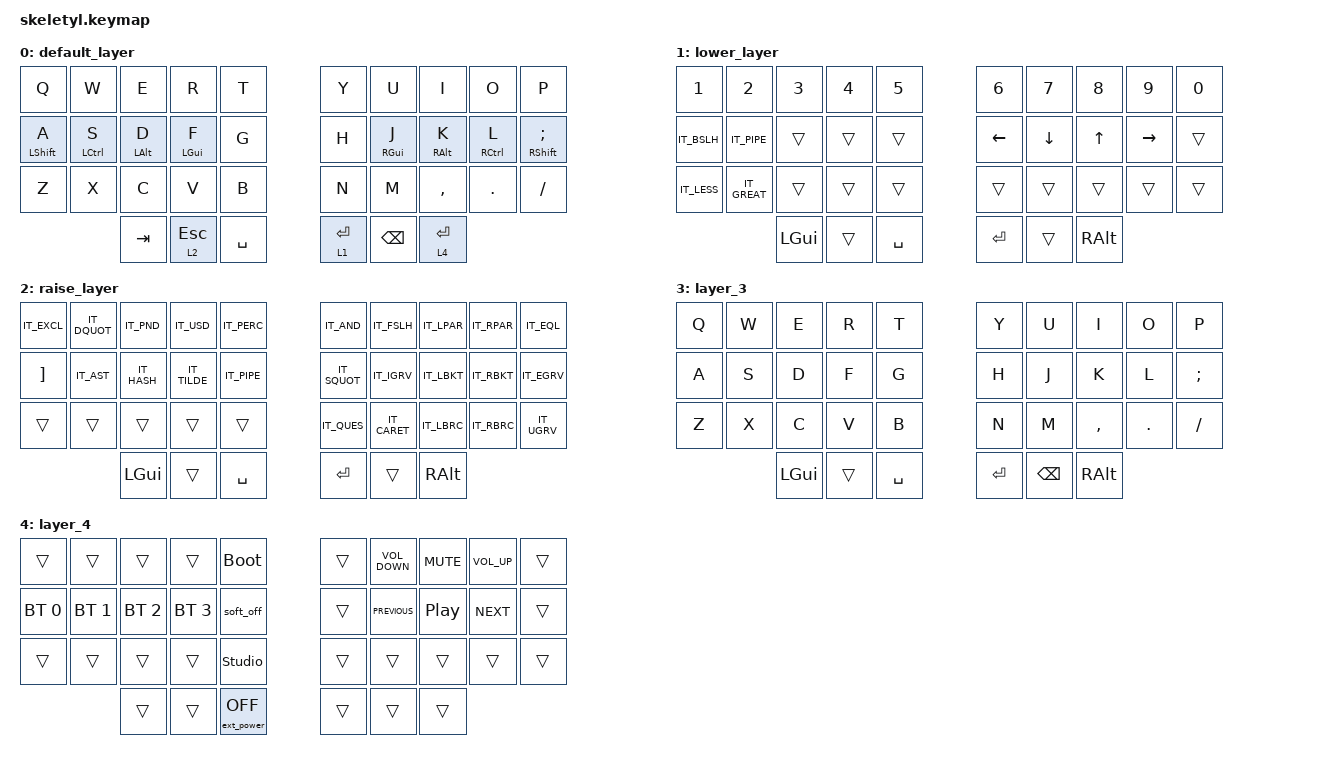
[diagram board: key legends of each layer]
/*
 * Copyright (c) 2020 The ZMK Contributors
 *
 * SPDX-License-Identifier: MIT
 */

#include <behaviors.dtsi>
#include <dt-bindings/zmk/bt.h>
#include <dt-bindings/zmk/keys.h>
#include <dt-bindings/zmk/ext_power.h>
#include "./keymap_italian.h"

/ {
    behaviors {
        hml: homewrow_mods_left {
            compatible = "zmk,behavior-hold-tap";
            label = "homewrow_mods_left";
            bindings = <&kp>, <&kp>;

            #binding-cells = <2>;
            quick-tap-ms = <175>;
            tapping-term-ms = <200>;
            require-prior-idle-ms = <150>;
            hold-trigger-key-positions = <31 39 40 41 30 18 19 32 20 21 33 35 34 23 22 10 11 9 8 7 6>;
            flavor = "balanced";
            hold-trigger-on-release;             // delay positional check until key-release
        };

        hmr: homewrow_mods_right {
            compatible = "zmk,behavior-hold-tap";
            label = "HOMEROW_MODS_RIGHT_HAND";
            bindings = <&kp>, <&kp>;

            #binding-cells = <2>;
            quick-tap-ms = <175>;
            tapping-term-ms = <200>;
            require-prior-idle-ms = <150>;
            hold-trigger-key-positions = <38 0 1 2 3 4 5 12 13 14 15 16 17 24 25 26 27 28 29 36 37 38>;
            flavor = "balanced";
            hold-trigger-on-release;             // delay positional check until key-release
        };

        layers: layers {
            compatible = "zmk,behavior-hold-tap";
            label = "LAYERS";
            bindings = <&mo>, <&kp>;

            #binding-cells = <2>;
            tapping-term-ms = <200>;
            quick-tap-ms = <0>;
            require-prior-idle-ms = <0>;
            flavor = "balanced";
        };
    };

    combos {
        compatible = "zmk,combos";

        caps {
            bindings = <&caps_word>;
            key-positions = <17 18>;
        };

        gaming {
            bindings = <&tog 3>;
            key-positions = <37 39>;
            require-prior-idle-ms = <0>;
        };

        media {
            bindings = <&none>;
            key-positions = <36 41>;
        };
    };

    keymap {
        compatible = "zmk,keymap";

        default_layer {
            // LAYER 0: BASE
            // -----------------------------------------------------------------------------------------
            // |   Q   |   W   |   E   |   R   |   T   | |   Y   |   U   |   I   |   O   |   P   |
            // | A/SFT | S/CTL | D/ALT | F/GUI |   G   | |   H   | J/GUI | K/ALT | L/CTL | ;/SFT |
            // |   Z   |   X   |   C   |   V   |   B   | |   N   |   M   |   ,   |   .   |   /   |
            // -----------------------------------------------------------------------------------------
            //           |  TAB  | RSE/ESC |  SPC  |   | LWR/ENT |  BKSP | SYS/ALT |            

            bindings = <
&kp Q              &kp W         &kp E            &kp R             &kp T        &kp Y            &kp U          &kp I             &kp O         &kp P            
&hml LEFT_SHIFT A  &hml LCTRL S  &hml LEFT_ALT D  &hml LGUI F       &kp G        &kp H            &hmr RGUI J    &hmr RIGHT_ALT K  &hmr RCTRL L  &hmr RSHFT SEMI 
&kp Z              &kp X         &kp C            &kp V             &kp B        &kp N            &kp M          &kp COMMA         &kp DOT       &kp FSLH         
                                                 &kp TAB         &layers 2 ESCAPE  &kp SPACE    &layers 1 ENTER  &kp BACKSPACE  &layers 4 RET
            >;
        };

        lower_layer {
            // LAYER 1: LOWER (NUM & NAV)
            // -----------------------------------------------------------------------------------------
            // |   1   |   2   |   3   |   4   |   5   | |   6   |   7   |   8   |   9   |   0   |
            // |       |       |       |       |       | |  LFT  |  DWN  |  UP   |  RGT  |       |
            // |   <   |   >   |       |       |       | |       |       |       |       |       |
            // -----------------------------------------------------------------------------------------
            //           |  GUI  |         |  SPC  |   |  ENT  |         |  ALT  |


            bindings = <
&kp N1        &kp N2        &kp N3        &kp N4        &kp N5          &kp N6    &kp N7    &kp N8    &kp N9     &kp N0 
&kp IT_BSLH   &kp IT_PIPE  &trans   &trans   &trans     &kp LEFT  &kp DOWN  &kp UP    &kp RIGHT  &trans
&kp IT_LESS        &kp IT_GREAT        &trans        &trans        &trans          &trans    &trans    &trans    &trans     &trans
                                        &kp LGUI      &trans        &kp SPACE       &kp RET   &trans    &kp RALT
            >;
        };

        raise_layer {
            // LAYER 2: RAISE (SYMBOLS)
            // -----------------------------------------------------------------------------------------
            // |   !   |   "   |   £   |   $   |   %   | |   &   |   /   |   (   |   )   |   =   |
            // |   +   |   *   |   #   |   ~   |   |   | |   '   |   ì   |   [   |   ]   |   è   |
            // |       |       |       |       |       | |   ?   |   ^   |   {   |   }   |   ù   |
            // -----------------------------------------------------------------------------------------
            //           |  GUI  |         |  SPC  |   |  ENT  |         |  ALT  |

            bindings = <
&kp IT_EXCL  &kp IT_DQUOT  &kp IT_PND  &kp IT_USD  &kp IT_PERC               &kp IT_AND  &kp IT_FSLH   &kp IT_LPAR  &kp IT_RPAR      &kp IT_EQL  
&kp RIGHT_BRACKET    &kp IT_AST   &kp IT_HASH    &kp IT_TILDE    &kp IT_PIPE       &kp IT_SQUOT  &kp IT_IGRV  &kp IT_LBKT  &kp IT_RBKT  &kp IT_EGRV  
&trans    &trans  &trans    &trans    &trans                            &kp IT_QUES  &kp IT_CARET   &kp IT_LBRC  &kp IT_RBRC  &kp IT_UGRV

                             &kp LGUI  &trans    &kp SPACE    &kp RET    &trans     &kp RALT
            >;
        };

        layer_3 {
            bindings = <
&kp Q  &kp W  &kp E     &kp R   &kp T        &kp Y      &kp U          &kp I          &kp O    &kp P     
&kp A  &kp S  &kp D     &kp F   &kp G        &kp H      &kp J          &kp K          &kp L    &kp SEMI  
&kp Z  &kp X  &kp C     &kp V   &kp B        &kp N      &kp M          &kp COMMA      &kp DOT  &kp FSLH 
                         &kp LGUI  &trans  &kp SPACE    &kp ENTER  &kp BACKSPACE  &kp RIGHT_ALT
            >;
        };

        layer_4 {
            // LAYER 4: SYSTEM & MEDIA
            // -----------------------------------------------------------------------------------------
            // |       |       |       |       | BOOT  | |       | VOL-  | MUTE  | VOL+  |       |
            // | BT 0  | BT 1  | BT 2  | BT 3  | SOFF  | |       | PREV  | PLAY  | NEXT  |       |
            // |       |       |       |       | UNLCK | |       |       |       |       |       |
            // -----------------------------------------------------------------------------------------
            //           |       |       | EPWR  |   |       |       |       |

            bindings = <
&trans  &trans  &trans  &trans  &bootloader           &trans  &kp C_VOLUME_DOWN  &kp C_MUTE        &kp C_VOLUME_UP  &trans
&bt BT_SEL 0  &bt BT_SEL 1  &bt BT_SEL 2  &bt BT_SEL 3  &soft_off                &trans  &kp C_PREVIOUS     &kp C_PLAY_PAUSE  &kp C_NEXT       &trans
&trans  &trans  &trans  &trans  &studio_unlock        &trans  &trans             &trans            &trans           &trans 
                &trans  &trans  &ext_power EP_OFF     &trans  &trans             &trans
            >;
        };
    };
};
